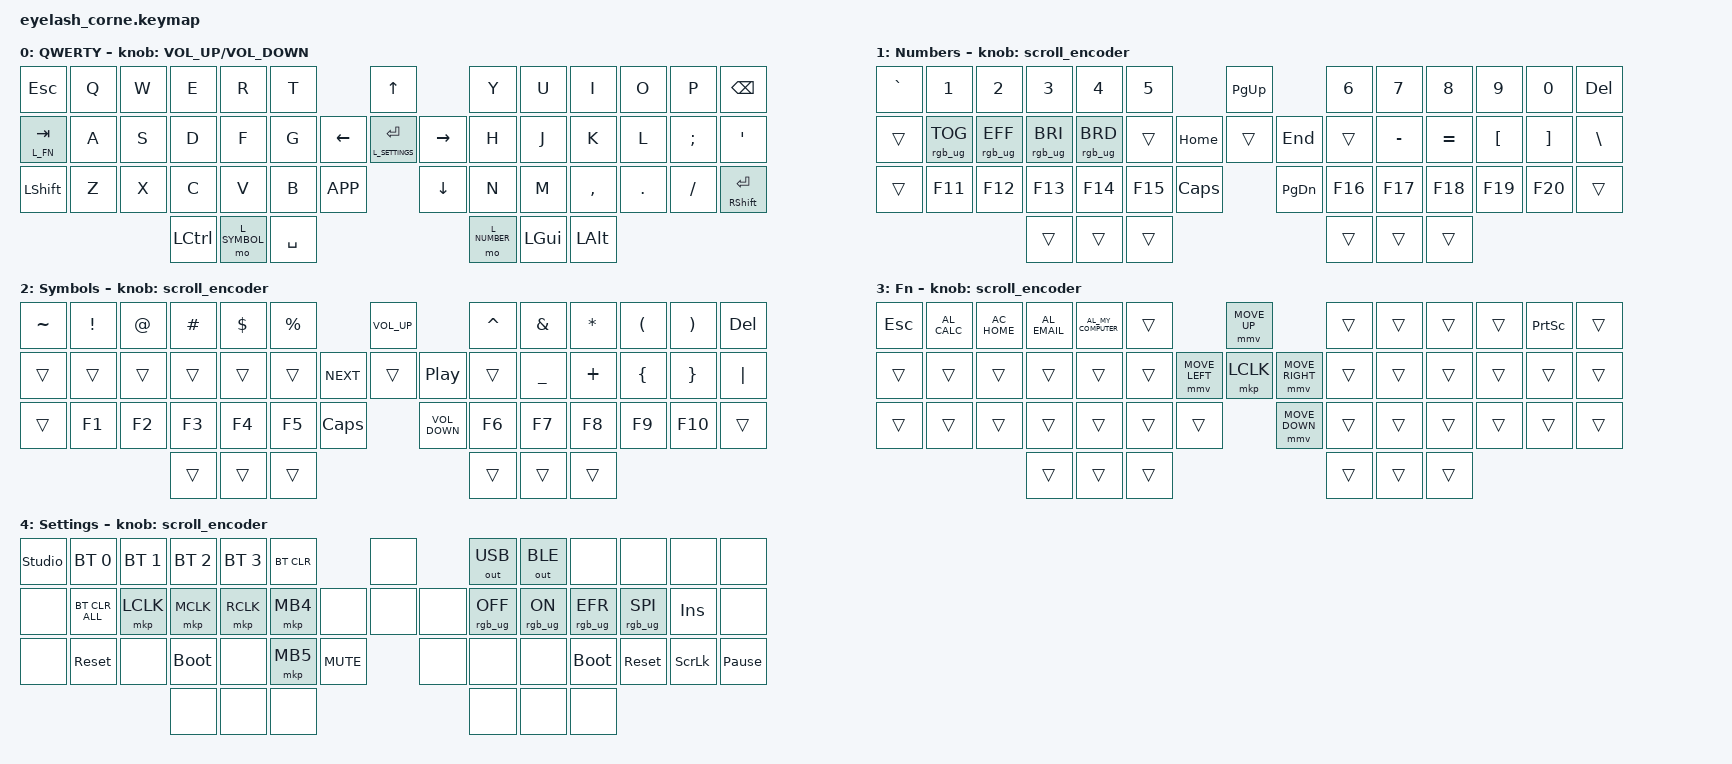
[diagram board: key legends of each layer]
#define ZMK_POINTING_DEFAULT_MOVE_VAL 1200  // 600
#define ZMK_POINTING_DEFAULT_SCRL_VAL 25   // 10

#include <input/processors.dtsi>
#include <zephyr/dt-bindings/input/input-event-codes.h>
#include <behaviors.dtsi>
#include <dt-bindings/zmk/bt.h>
#include <dt-bindings/zmk/keys.h>
#include <dt-bindings/zmk/outputs.h>
#include <dt-bindings/zmk/pointing.h>
#include <dt-bindings/zmk/rgb.h>

#define L_NUMBER 1
#define L_SYMBOL 2
#define L_FN 3
#define L_SETTINGS 4

&mmv_input_listener { input-processors = <&zip_xy_scaler 2 1>; };

&msc_input_listener { input-processors = <&zip_scroll_scaler 2 1>; };

&msc {
    acceleration-exponent = <1>;      // 0
    time-to-max-speed-ms = <100>;       // 300
    delay-ms = <0>;                   // 0
};

&mmv {
    time-to-max-speed-ms = <500>;
    acceleration-exponent = <1>;
    trigger-period-ms = <16>;
};


/ {
    scroll_encoder: scroll_encoder {
        compatible = "zmk,behavior-sensor-rotate";
        #sensor-binding-cells = <0>;
        bindings = <&msc SCRL_DOWN>, <&msc SCRL_UP>;
        tap-ms = <100>;
    };

    keymap {
        compatible = "zmk,keymap";

        // The five-way switch carries the UT47.2 bottom-row arrows.
        // The encoder press carries Menu (Caps Lock on Numbers and Symbols).
        default_layer {
            display-name = "QWERTY";
            bindings = <
                &kp ESC        &kp Q  &kp W  &kp E      &kp R       &kp T                                 &kp UP                              &kp Y           &kp U     &kp I      &kp O    &kp P     &kp BSPC
                &lt L_FN TAB   &kp A  &kp S  &kp D      &kp F       &kp G                       &kp LEFT  &lt L_SETTINGS ENTER  &kp RIGHT     &kp H           &kp J     &kp K      &kp L    &kp SEMI  &kp SQT
                &kp LSHIFT     &kp Z  &kp X  &kp C      &kp V       &kp B           &kp K_APP             &kp DOWN                            &kp N           &kp M     &kp COMMA  &kp DOT  &kp FSLH  &mt RSHIFT ENTER
                                             &kp LCTRL  &mo L_SYMBOL  &kp SPACE                                                             &mo L_NUMBER    &kp LGUI  &kp LALT
            >;
            sensor-bindings = <&inc_dec_kp C_VOLUME_UP C_VOLUME_DOWN>;
        };

        lower_layer {
            display-name = "Numbers";
            bindings = <
                &kp GRAVE  &kp N1           &kp N2           &kp N3           &kp N4           &kp N5                            &kp PG_UP              &kp N6   &kp N7     &kp N8     &kp N9    &kp N0    &kp DEL
                &trans     &rgb_ug RGB_TOG  &rgb_ug RGB_EFF  &rgb_ug RGB_BRI  &rgb_ug RGB_BRD  &trans                  &kp HOME  &trans     &kp END    &trans   &kp MINUS  &kp EQUAL  &kp LBKT  &kp RBKT  &kp BSLH
                &trans     &kp F11          &kp F12          &kp F13          &kp F14          &kp F15  &kp CAPS                 &kp PG_DN              &kp F16  &kp F17    &kp F18    &kp F19   &kp F20   &trans
                                                             &trans           &trans           &trans                                                   &trans   &trans     &trans
            >;
            sensor-bindings = <&scroll_encoder>;
        };

        raise_layer {
            display-name = "Symbols";
            bindings = <
                &kp TILDE  &kp EXCL  &kp AT  &kp HASH  &kp DLLR  &kp PRCNT                             &kp C_VOLUME_UP                          &kp CARET  &kp AMPS   &kp ASTRK  &kp LPAR  &kp RPAR  &kp DEL
                &trans     &trans    &trans  &trans    &trans    &trans                     &kp C_NEXT  &trans             &kp C_PLAY_PAUSE    &trans     &kp UNDER  &kp PLUS   &kp LBRC  &kp RBRC  &kp PIPE
                &trans     &kp F1    &kp F2  &kp F3    &kp F4    &kp F5     &kp CAPS                   &kp C_VOLUME_DOWN                        &kp F6     &kp F7     &kp F8     &kp F9    &kp F10   &trans
                                             &trans    &trans    &trans                                                                        &trans     &trans     &trans
            >;
            sensor-bindings = <&scroll_encoder>;
        };

        layer_3 {
            display-name = "Fn";
            bindings = <
                &kp ESC  &kp C_AL_CALC  &kp C_AC_HOME  &kp C_AL_EMAIL  &kp C_AL_MY_COMPUTER  &trans                         &mmv MOVE_UP                     &trans  &trans  &trans  &trans  &kp PRINTSCREEN  &trans
                &trans   &trans         &trans         &trans          &trans                &trans           &mmv MOVE_LEFT  &mkp LCLK       &mmv MOVE_RIGHT  &trans  &trans  &trans  &trans  &trans           &trans
                &trans   &trans         &trans         &trans          &trans                &trans  &trans                &mmv MOVE_DOWN                   &trans  &trans  &trans  &trans  &trans           &trans
                                                       &trans          &trans                &trans                                                         &trans  &trans  &trans
            >;
            sensor-bindings = <&scroll_encoder>;
        };

        settings_layer {
            display-name = "Settings";
            bindings = <
                &studio_unlock  &bt BT_SEL 0    &bt BT_SEL 1  &bt BT_SEL 2  &bt BT_SEL 3  &bt BT_CLR                        &none             &out OUT_USB     &out OUT_BLE    &none        &none      &none           &none
                &none           &bt BT_CLR_ALL  &mkp LCLK     &mkp MCLK     &mkp RCLK     &mkp MB4                   &none  &none  &none     &rgb_ug RGB_OFF  &rgb_ug RGB_ON  &rgb_ug RGB_EFR  &rgb_ug RGB_SPI  &kp INSERT      &none
                &none           &sys_reset      &none         &bootloader   &none         &mkp MB5  &kp C_MUTE             &none             &none            &none           &bootloader  &sys_reset  &kp SCROLLLOCK  &kp PAUSE_BREAK
                                                              &none         &none         &none                                              &none            &none           &none
            >;
            sensor-bindings = <&scroll_encoder>;
        };
    };
};
